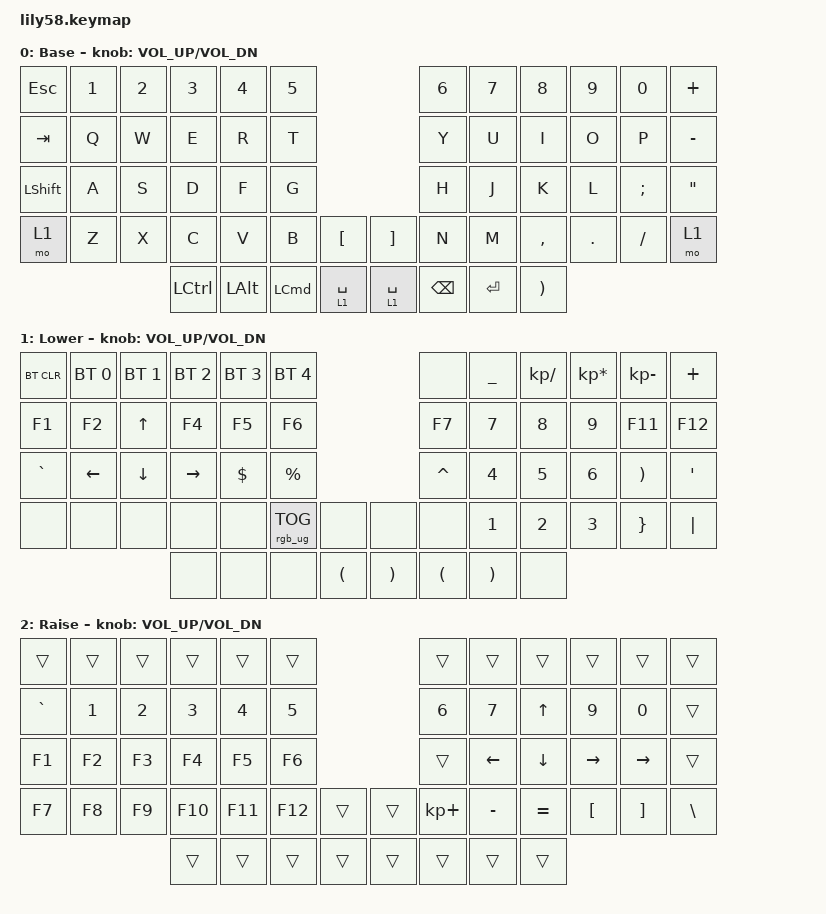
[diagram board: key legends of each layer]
/*
 * Copyright (c) 2020 The ZMK Contributors
 *
 * SPDX-License-Identifier: MIT
 */

#include <behaviors.dtsi>
#include <dt-bindings/zmk/bt.h>
#include <dt-bindings/zmk/keys.h>
#include <dt-bindings/zmk/rgb.h>

/ {
    keymap {
        compatible = "zmk,keymap";

        default_layer {
            // ------------------------------------------------------------------------------------------------------------
            // |  ESC  |  1  |  2  |  3   |  4   |  5   |                   |  6   |  7    |  8    |  9   |   0   |   `   |
            // |  TAB  |  Q  |  W  |  E   |  R   |  T   |                   |  Y   |  U    |  I    |  O   |   P   |   -   |
            // |  CTRL |  A  |  S  |  D   |  F   |  G   |                   |  H   |  J    |  K    |  L   |   ;   |   '   |
            // | SHIFT |  Z  |  X  |  C   |  V   |  B   |   "["  |  |  "]"  |  N   |  M    |  ,    |  .   |   /   | SHIFT |
            //                     | ALT  | GUI  | LOWER|  SPACE |  | ENTER | RAISE| BSPC  | GUI   |

            display-name = "Base";
            bindings = <
&kp ESC         &kp N1  &kp N2  &kp N3            &kp N4        &kp N5                                        &kp N6         &kp N7     &kp N8                 &kp N9   &kp N0    &kp PLUS
&kp TAB         &kp Q   &kp W   &kp E             &kp R         &kp T                                         &kp Y          &kp U      &kp I                  &kp O    &kp P     &kp MINUS
&kp LEFT_SHIFT  &kp A   &kp S   &kp D             &kp F         &kp G                                         &kp H          &kp J      &kp K                  &kp L    &kp SEMI  &kp DOUBLE_QUOTES
&mo 1           &kp Z   &kp X   &kp C             &kp V         &kp B             &kp LBKT       &kp RBKT     &kp N          &kp M      &kp COMMA              &kp DOT  &kp FSLH  &mo 1
                                &kp LEFT_CONTROL  &kp LEFT_ALT  &kp LEFT_COMMAND  &lt 1 SPACE    &lt 1 SPACE  &kp BACKSPACE  &kp ENTER  &kp RIGHT_PARENTHESIS
            >;

            sensor-bindings = <&inc_dec_kp C_VOL_UP C_VOL_DN>;
        };

        lower_layer {
            // ------------------------------------------------------------------------------------------------------------
            // | BTCLR | BT1 | BT2 |  BT3 |  BT4 |  BT5 |                   |      |       |       |      |       |       |
            // |  F1   |  F2 |  F3 |  F4  |  F5  |  F6  |                   |  F7  |  F8   |  F9   |  F10 |  F11  |  F12  |
            // |   `   |  !  |  @  |  #   |  $   |  %   |                   |  ^   |  &    |  *    |  (   |   )   |   ~   |
            // |       |     |     |      |      |      |        |  |       |      |  _    |  +    |  {   |   }   |  "|"  |
            //                     |      |      |      |        |  |       |      |       |       |

            display-name = "Lower";
            bindings = <
&bt BT_CLR  &bt BT_SEL 0    &bt BT_SEL 1    &bt BT_SEL 2     &bt BT_SEL 3  &bt BT_SEL 4                                                    &none                 &kp UNDER              &kp KP_DIVIDE  &kp KP_ASTERISK  &kp KP_MINUS  &kp PLUS
&kp F1      &kp F2          &kp UP_ARROW    &kp F4           &kp F5        &kp F6                                                          &kp F7                &kp NUMBER_7           &kp NUMBER_8   &kp NUMBER_9     &kp F11       &kp F12
&kp GRAVE   &kp LEFT_ARROW  &kp DOWN_ARROW  &kp RIGHT_ARROW  &kp DOLLAR    &kp PRCNT                                                       &kp CARET             &kp NUMBER_4           &kp NUMBER_5   &kp NUMBER_6     &kp RPAR      &kp SQT
&none       &none           &none           &none            &none         &rgb_ug RGB_TOG  &none                   &none                  &none                 &kp NUMBER_1           &kp NUMBER_2   &kp NUMBER_3     &kp RBRC      &kp PIPE
                                            &none            &none         &none            &kp LEFT_PARENTHESIS    &kp RIGHT_PARENTHESIS  &kp LEFT_PARENTHESIS  &kp RIGHT_PARENTHESIS  &none
            >;

            sensor-bindings = <&inc_dec_kp C_VOL_UP C_VOL_DN>;
        };

        raise_layer {
            // ------------------------------------------------------------------------------------------------------------
            // |       |     |     |      |      |      |                   |      |       |       |      |       |       |
            // |   `   |  1  |  2  |  3   |  4   |  5   |                   |  6   |   7   |   8   |  9   |   0   |       |
            // |   F1  |  F2 |  F3 |  F4  |  F5  |  F6  |                   |      |   <-  |   v   |  ^   |  ->   |       |
            // |   F7  |  F8 |  F9 |  F10 |  F11 |  F12 |        |  |       |  +   |   -   |   =   |  [   |   ]   |   \   |
            //                     |      |      |      |        |  |       |      |       |       |

            display-name = "Raise";
            bindings = <
&trans     &trans  &trans  &trans   &trans   &trans                     &trans       &trans     &trans        &trans           &trans     &trans
&kp GRAVE  &kp N1  &kp N2  &kp N3   &kp N4   &kp N5                     &kp N6       &kp N7     &kp UP_ARROW  &kp N9           &kp N0     &trans
&kp F1     &kp F2  &kp F3  &kp F4   &kp F5   &kp F6                     &trans       &kp LEFT   &kp DOWN      &kp RIGHT_ARROW  &kp RIGHT  &trans
&kp F7     &kp F8  &kp F9  &kp F10  &kp F11  &kp F12  &trans    &trans  &kp KP_PLUS  &kp MINUS  &kp EQUAL     &kp LBKT         &kp RBKT   &kp BSLH
                           &trans   &trans   &trans   &trans    &trans  &trans       &trans     &trans
            >;

            sensor-bindings = <&inc_dec_kp C_VOL_UP C_VOL_DN>;
        };
    };
};
